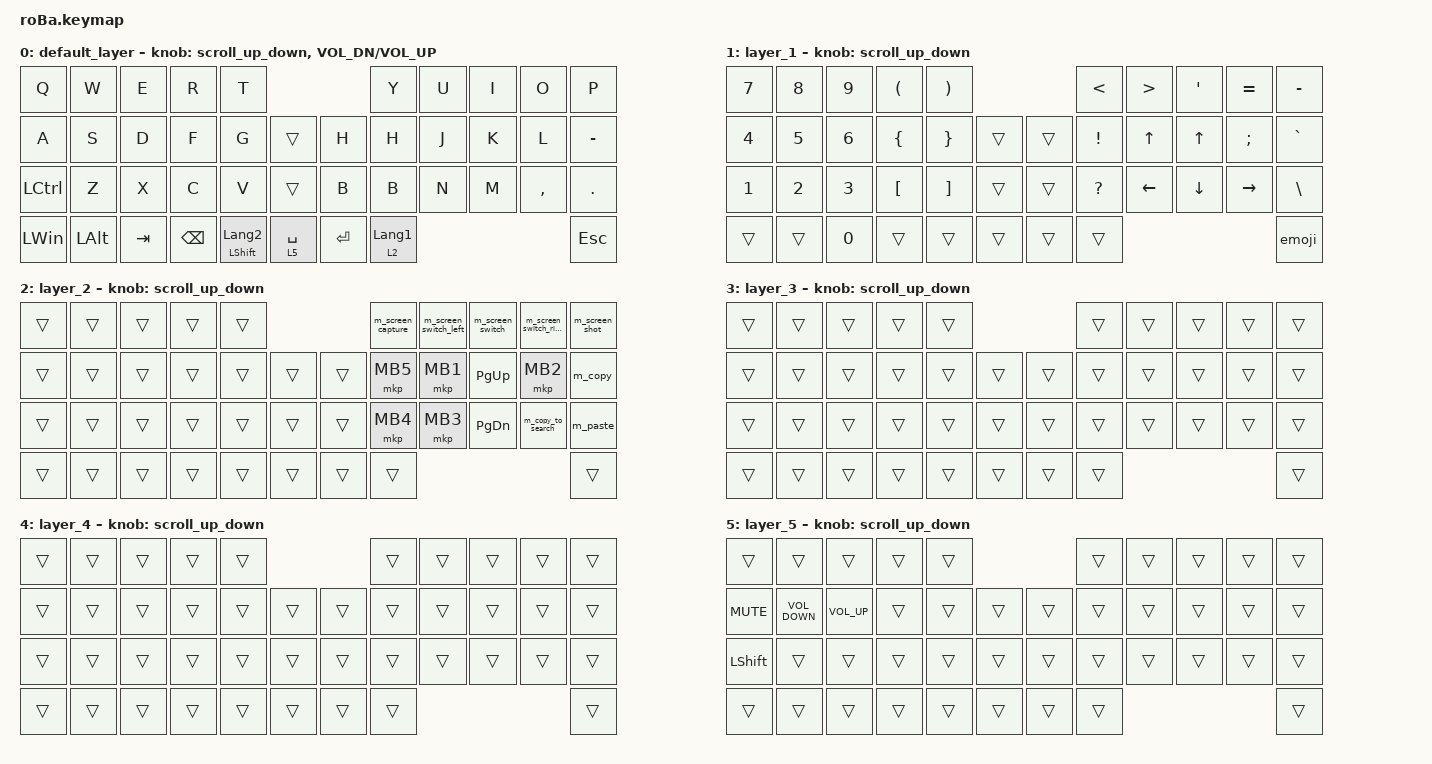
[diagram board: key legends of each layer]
#include <behaviors.dtsi>
#include <dt-bindings/zmk/keys.h>
#include <dt-bindings/zmk/pointing.h>
#include <dt-bindings/zmk/pointing.h>

#define MOUSE 4
#define SCROLL 5
#define NUM 6

&mt {
    flavor = "balanced";
    quick-tap-ms = <0>;
};

/ {
    combos { compatible = "zmk,combos"; };

    macros {
        to_layer_0: to_layer_0 {
            compatible = "zmk,behavior-macro-one-param";
            #binding-cells = <1>;
            bindings = <&to 0 &macro_param_1to1 &kp MACRO_PLACEHOLDER>;
            label = "TO_LAYER_0";
        };

        m_copy: new_macro {
            compatible = "zmk,behavior-macro";
            #binding-cells = <0>;
            bindings =
                <&macro_press>,
                <&kp LEFT_WIN>,
                <&macro_tap>,
                <&kp C>,
                <&macro_release>,
                <&kp LEFT_WIN>;

            label = "NEW_MACRO";
        };

        m_paste: m_paste {
            compatible = "zmk,behavior-macro";
            #binding-cells = <0>;
            bindings =
                <&macro_press>,
                <&kp LEFT_WIN>,
                <&macro_tap>,
                <&kp V>,
                <&macro_release>,
                <&kp LEFT_WIN>,
                <&macro_press>;

            label = "M_PASTE";
        };

        m_copy_to_search: m_copy_to_search {
            compatible = "zmk,behavior-macro";
            #binding-cells = <0>;
            bindings =
                <&macro_press>,
                <&kp LEFT_WIN>,
                <&macro_tap>,
                <&kp C>,
                <&macro_tap>,
                <&kp T>,
                <&macro_tap>,
                <&kp V>,
                <&macro_release>,
                <&kp LEFT_WIN>,
                <&macro_tap>,
                <&kp SPACE>,
                <&macro_wait_time 500>,
                <&kp BACKSPACE>,
                <&macro_wait_time 500>,
                <&kp ENTER>;

            label = "M_COPY_TO_SEARCH";
        };

        m_screen_switch_left: m_screen_switch_left {
            compatible = "zmk,behavior-macro";
            #binding-cells = <0>;
            bindings =
                <&macro_press>,
                <&kp LCTRL>,
                <&macro_tap>,
                <&kp LEFT>,
                <&macro_release>,
                <&kp LCTRL>;

            label = "M_SCREEN_SWITCH_LEFT";
        };

        m_screen_switch_right: m_screen_switch_right {
            compatible = "zmk,behavior-macro";
            #binding-cells = <0>;
            bindings =
                <&macro_press>,
                <&kp LCTRL>,
                <&macro_tap>,
                <&kp RIGHT>,
                <&macro_release>,
                <&kp LCTRL>;

            label = "M_SCREEN_SWITCH_RIGHT";
        };

        m_screen_switch: m_screen_switch {
            compatible = "zmk,behavior-macro";
            #binding-cells = <0>;
            bindings =
                <&macro_press>,
                <&kp LCTRL>,
                <&macro_tap>,
                <&kp UP_ARROW>,
                <&macro_release>,
                <&kp LCTRL>;

            label = "M_SCREEN_SWITCH";
        };

        m_screen_shot: m_screen_shot {
            compatible = "zmk,behavior-macro";
            #binding-cells = <0>;
            bindings =
                <&macro_press>,
                <&kp LEFT_WIN &kp LEFT_SHIFT &kp LCTRL>,
                <&macro_tap>,
                <&kp NUMBER_4>,
                <&macro_release>,
                <&kp LEFT_WIN &kp LEFT_SHIFT &kp LCTRL>;

            label = "M_SCREEN_SHOT";
        };

        m_screen_capture: m_screen_capture {
            compatible = "zmk,behavior-macro";
            #binding-cells = <0>;
            bindings =
                <&macro_press>,
                <&kp LEFT_WIN &kp LEFT_SHIFT>,
                <&macro_tap>,
                <&kp N5>,
                <&macro_release>,
                <&kp LEFT_WIN &kp LEFT_SHIFT>;

            label = "M_SCREEN_CAPTURE";
        };

        emoji: emoji {
            compatible = "zmk,behavior-macro";
            #binding-cells = <0>;
            bindings =
                <&macro_press>,
                <&kp LEFT_WIN &kp LCTRL>,
                <&macro_tap>,
                <&kp SPACE>,
                <&macro_release>,
                <&kp LEFT_WIN &kp LCTRL>;

            label = "EMOJI";
        };
    };

    behaviors {
        lt_to_layer_0: lt_to_layer_0 {
            compatible = "zmk,behavior-hold-tap";
            label = "LAYER_TAP_TO_0";
            bindings = <&mo>, <&to_layer_0>;

            #binding-cells = <2>;
            tapping-term-ms = <200>;
        };

        scroll_up_down: behavior_sensor_rotate_mouse_wheel_up_down {
            compatible = "zmk,behavior-sensor-rotate";
            label = "SCROLL_UP_DOWN";
            #sensor-binding-cells = <0>;
            bindings = <&msc SCRL_UP>, <&msc SCRL_DOWN>;
            tap-ms = <20>;
        };
    };

    keymap {
        compatible = "zmk,keymap";

        default_layer {
            bindings = <
&kp Q         &kp W         &kp E    &kp R          &kp T                                                  &kp Y             &kp U  &kp I  &kp O      &kp P
&kp A         &kp S         &kp D    &kp F          &kp G                      &trans           &kp H      &kp H             &kp J  &kp K  &kp L      &kp MINUS
&kp LCTRL     &kp Z         &kp X    &kp C          &kp V                      &trans           &kp B      &kp B             &kp N  &kp M  &kp COMMA  &kp PERIOD
&kp LEFT_WIN  &kp LEFT_ALT  &kp TAB  &kp BACKSPACE  &mt LEFT_SHIFT LANGUAGE_2  &lt 5 SPACE      &kp ENTER  &lt 2 LANGUAGE_1                           &kp ESC
            >;

            sensor-bindings =
                <&scroll_up_down>,
                <&inc_dec_kp C_VOL_DN C_VOL_UP>;
        };

        layer_1 {
            bindings = <
&kp NUMBER_7  &kp N8        &kp N9        &kp LEFT_PARENTHESIS  &kp RIGHT_PARENTHESIS                      &kp LESS_THAN    &kp GREATER_THAN  &kp SQT       &kp EQUAL      &kp MINUS
&kp NUMBER_4  &kp NUMBER_5  &kp NUMBER_6  &kp LEFT_BRACE        &kp RIGHT_BRACE        &trans      &trans  &kp EXCLAMATION  &kp UP_ARROW      &kp UP_ARROW  &kp SEMICOLON  &kp GRAVE
&kp NUMBER_1  &kp NUMBER_2  &kp NUMBER_3  &kp LEFT_BRACKET      &kp RIGHT_BRACKET      &trans      &trans  &kp QUESTION     &kp LEFT          &kp DOWN      &kp RIGHT      &kp BACKSLASH
&trans        &trans        &kp N0        &trans                &trans                 &trans      &trans  &trans                                                          &emoji
            >;
            sensor-bindings = <&scroll_up_down>;

        };

        layer_2 {
            bindings = <
&trans  &trans  &trans  &trans  &trans                      &m_screen_capture  &m_screen_switch_left  &m_screen_switch  &m_screen_switch_right  &m_screen_shot
&trans  &trans  &trans  &trans  &trans  &trans      &trans  &mkp MB5           &mkp MB1               &kp PG_UP         &mkp MB2                &m_copy
&trans  &trans  &trans  &trans  &trans  &trans      &trans  &mkp MB4           &mkp MB3               &kp PAGE_DOWN     &m_copy_to_search       &m_paste
&trans  &trans  &trans  &trans  &trans  &trans      &trans  &trans                                                                              &trans
            >;
            sensor-bindings = <&scroll_up_down>;
        };

        layer_3 {
            bindings = <
&trans  &trans  &trans  &trans  &trans                      &trans  &trans  &trans  &trans  &trans
&trans  &trans  &trans  &trans  &trans  &trans      &trans  &trans  &trans  &trans  &trans  &trans
&trans  &trans  &trans  &trans  &trans  &trans      &trans  &trans  &trans  &trans  &trans  &trans
&trans  &trans  &trans  &trans  &trans  &trans      &trans  &trans                          &trans
            >;
            sensor-bindings = <&scroll_up_down>;
        };

        layer_4 {
            bindings = <
&trans  &trans  &trans  &trans  &trans                      &trans  &trans  &trans  &trans  &trans
&trans  &trans  &trans  &trans  &trans  &trans      &trans  &trans  &trans  &trans  &trans  &trans
&trans  &trans  &trans  &trans  &trans  &trans      &trans  &trans  &trans  &trans  &trans  &trans
&trans  &trans  &trans  &trans  &trans  &trans      &trans  &trans                          &trans
            >;
            sensor-bindings = <&scroll_up_down>;
        };

        layer_5 {
            bindings = <
&trans          &trans             &trans           &trans  &trans                      &trans  &trans  &trans  &trans  &trans
&kp K_MUTE      &kp C_VOLUME_DOWN  &kp C_VOLUME_UP  &trans  &trans  &trans      &trans  &trans  &trans  &trans  &trans  &trans
&kp LEFT_SHIFT  &trans             &trans           &trans  &trans  &trans      &trans  &trans  &trans  &trans  &trans  &trans
&trans          &trans             &trans           &trans  &trans  &trans      &trans  &trans                          &trans
            >;
            sensor-bindings = <&scroll_up_down>;
        };
    };
};
